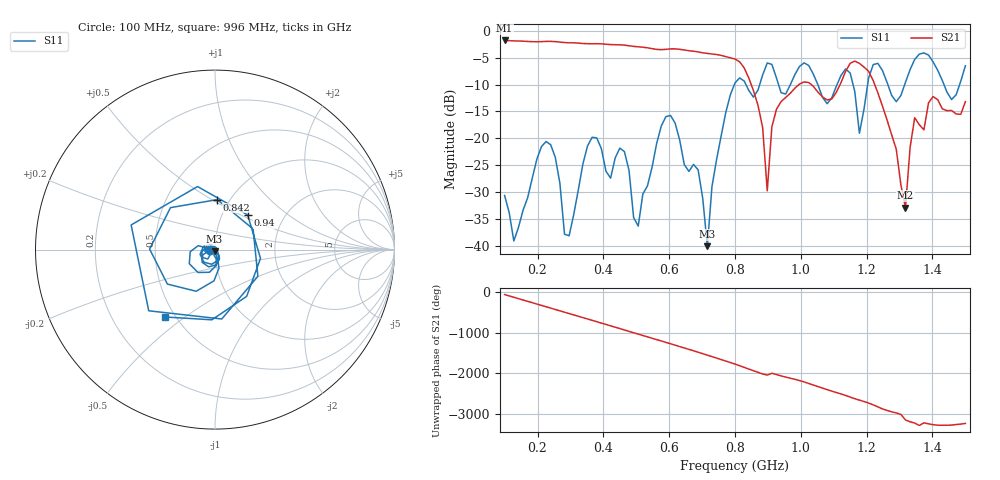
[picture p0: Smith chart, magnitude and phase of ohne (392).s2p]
! NanoVNA-App
! Date: 2025-09-25 14:23:51
! Start: 100MHz Stop: 1,5GHz Points: 101
! S-Parameter data: F S11 S21 S12 S22
# Hz S RI R 50
!  Frequency  S11_Real  S11_Imag  S21_Real  S21_Imag  S12_Real  S12_Imag  S22_Real  S22_Imag
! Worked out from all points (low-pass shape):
!   101 points, 100 MHz to 1.5 GHz, reference 50 ohm
!   highest |S21| = -1.79 dB at 100 MHz (marker M1); lowest = -32.9 dB at 1.318 GHz (marker M2)
!   |S21| within 3 dB of the highest: start of sweep to 771.8 MHz
!   lowest |S11| = -40.1 dB at 716 MHz (marker M3), VSWR 1.02, Z = 49.8 - j0.961 ohm
!   |S11| at or under -10 dB: start of sweep to 798 MHz; 833.2 MHz to 875.1 MHz (41.84 MHz wide, 4.9 % of centre); 1.052 GHz to 1.11 GHz (58.42 MHz wide, 5.41 % of centre) (the widest 3 of 7)
!   S12 and S22 are empty: the file has one direction only
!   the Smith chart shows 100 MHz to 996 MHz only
!   S11 on the Smith chart (normalised r, x): 100 MHz: 0.94, -0.01; 842 MHz: 0.88, +0.53; 940 MHz: 1.32, +0.55; 996 MHz: 0.44, -0.42
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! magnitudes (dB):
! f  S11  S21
! 100 MHz  -30.6  -1.8
! 128 MHz  -39.1  -1.9
! 226 MHz  -20.6  -2.0
! 296 MHz  -38.1  -2.2
! 338 MHz  -24.7  -2.4
! 464 MHz  -22.5  -2.7
! 506 MHz  -36.3  -3.0
! 576 MHz  -17.7  -3.5
! 688 MHz  -25.9  -3.9
! 716 MHz  -40.1  -4.2
! 800 MHz  -9.7  -5.3
! 842 MHz  -11.1  -8.8
! 898 MHz  -6.0  -29.8
! 940 MHz  -11.5  -13.2
! 996 MHz  -6.6  -9.9
! 1.038 GHz  -8.1  -10.3
! 1.178 GHz  -19.1  -6.1
! 1.22 GHz  -6.3  -9.3
! 1.276 GHz  -12.0  -19.4
! 1.318 GHz  -9.6  -32.9
! 1.346 GHz  -5.3  -16.2
! 1.5 GHz  -6.5  -13.2
